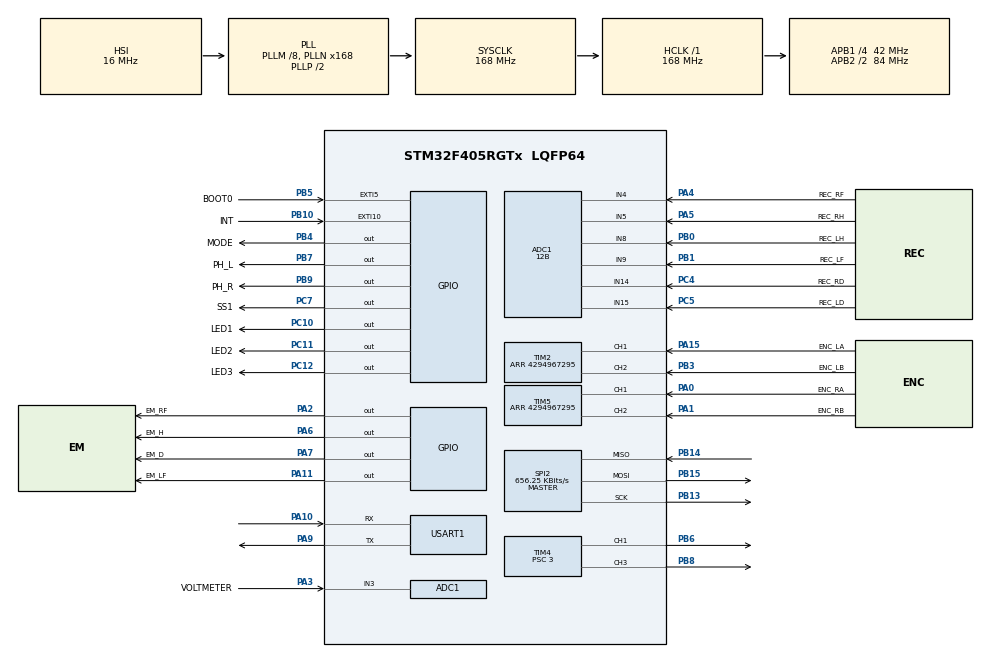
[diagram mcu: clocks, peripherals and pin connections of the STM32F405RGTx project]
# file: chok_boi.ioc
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ADC1.Channel-0\#ChannelRegularConversion=ADC_CHANNEL_3
ADC1.ClockPrescaler=ADC_CLOCK_SYNC_PCLK_DIV4
ADC1.ContinuousConvMode=DISABLE
ADC1.DMAContinuousRequests=DISABLE
ADC1.DataAlign=ADC_DATAALIGN_RIGHT
ADC1.DiscontinuousConvMode=DISABLE
ADC1.EOCSelection=ADC_EOC_SINGLE_CONV
ADC1.EnableAnalogWatchDog=false
ADC1.ExternalTrigConv=ADC_SOFTWARE_START
ADC1.ExternalTrigConvEdge=ADC_EXTERNALTRIGCONVEDGE_NONE
ADC1.InjNumberOfConversion=0
ADC1.NbrOfConversion=1
ADC1.NbrOfConversionFlag=1
ADC1.Rank-0\#ChannelRegularConversion=1
ADC1.Resolution=ADC_RESOLUTION_12B
ADC1.SamplingTime-0\#ChannelRegularConversion=ADC_SAMPLETIME_3CYCLES
ADC1.ScanConvMode=DISABLE
ADC1.master=1
Mcu.Family=STM32F4
Mcu.Name=STM32F405RGTx
Mcu.Package=LQFP64
NVIC.EXTI9_5_IRQn=true\:1\:0\:true\:false\:true\:true
NVIC.PriorityGroup=NVIC_PRIORITYGROUP_4
PA0-WKUP.GPIO_Label=ENC_RA
PA0-WKUP.Signal=S_TIM5_CH1
PA1.GPIO_Label=ENC_RB
PA1.Signal=S_TIM5_CH2
PA10.Mode=Asynchronous
PA10.Signal=USART1_RX
PA11.GPIO_Label=EM_LF
PA11.Signal=GPIO_Output
PA13.Mode=Serial_Wire
PA13.Signal=SYS_JTMS-SWDIO
PA14.Mode=Serial_Wire
PA14.Signal=SYS_JTCK-SWCLK
PA15.GPIO_Label=ENC_LA
PA15.Signal=S_TIM2_CH1_ETR
PA2.GPIO_Label=EM_RF
PA2.Signal=GPIO_Output
PA3.GPIO_Label=VOLTMETER
PA3.Signal=ADCx_IN3
PA4.GPIO_Label=REC_RF
PA4.Signal=ADCx_IN4
PA5.GPIO_Label=REC_RH
PA5.Signal=ADCx_IN5
PA6.GPIO_Label=EM_H
PA6.Signal=GPIO_Output
PA7.GPIO_Label=EM_D
PA7.Signal=GPIO_Output
PA9.Mode=Asynchronous
PA9.Signal=USART1_TX
PB0.GPIO_Label=REC_LH
PB0.Signal=ADCx_IN8
PB1.GPIO_Label=REC_LF
PB1.Signal=ADCx_IN9
PB10.GPIO_Label=INT
PB10.Signal=GPXTI10
PB13.Mode=Full_Duplex_Master
PB13.Signal=SPI2_SCK
PB14.Mode=Full_Duplex_Master
PB14.Signal=SPI2_MISO
PB15.Mode=Full_Duplex_Master
PB15.Signal=SPI2_MOSI
PB3.GPIO_Label=ENC_LB
PB3.Signal=S_TIM2_CH2
PB4.GPIO_Label=MODE
PB4.Signal=GPIO_Output
PB5.GPIO_Label=BOOT0
PB5.Signal=GPXTI5
PB6.Signal=S_TIM4_CH1
PB7.GPIO_Label=PH_L
PB7.Signal=GPIO_Output
PB8.Signal=S_TIM4_CH3
PB9.GPIO_Label=PH_R
PB9.Signal=GPIO_Output
PC10.GPIO_Label=LED1
PC10.Signal=GPIO_Output
PC11.GPIO_Label=LED2
PC11.Signal=GPIO_Output
PC12.GPIO_Label=LED3
PC12.Signal=GPIO_Output
PC4.GPIO_Label=REC_RD
PC4.Signal=ADCx_IN14
PC5.GPIO_Label=REC_LD
PC5.Signal=ADCx_IN15
PC7.GPIO_Label=SS1
PC7.PinState=GPIO_PIN_SET
PC7.Signal=GPIO_Output
ProjectManager.HeapSize=0x200
ProjectManager.StackSize=0x400
ProjectManager.TargetToolchain=Makefile
RCC.48MHZClocksFreq_Value=84000000
RCC.AHBFreq_Value=168000000
RCC.APB1CLKDivider=RCC_HCLK_DIV4
RCC.APB1Freq_Value=42000000
RCC.APB1TimFreq_Value=84000000
RCC.APB2CLKDivider=RCC_HCLK_DIV2
RCC.APB2Freq_Value=84000000
RCC.APB2TimFreq_Value=168000000
RCC.CortexFreq_Value=168000000
RCC.HCLKFreq_Value=168000000
RCC.HSE_VALUE=25000000
RCC.HSI_VALUE=16000000
RCC.LSE_VALUE=32768
RCC.PLLM=8
RCC.PLLN=168
RCC.SYSCLKFreq_VALUE=168000000
RCC.SYSCLKSource=RCC_SYSCLKSOURCE_PLLCLK
RCC.VCOOutputFreq_Value=336000000
SH.ADCx_IN14.0=ADC1_IN14,IN14
SH.ADCx_IN15.0=ADC1_IN15,IN15
SH.ADCx_IN3.0=ADC1_IN3,IN3
SH.ADCx_IN4.0=ADC1_IN4,IN4
SH.ADCx_IN5.0=ADC1_IN5,IN5
SH.ADCx_IN8.0=ADC1_IN8,IN8
SH.ADCx_IN9.0=ADC1_IN9,IN9
SH.S_TIM2_CH1_ETR.0=TIM2_CH1,Encoder_Interface
SH.S_TIM2_CH2.0=TIM2_CH2,Encoder_Interface
SH.S_TIM4_CH1.0=TIM4_CH1,PWM Generation1 CH1
SH.S_TIM4_CH3.0=TIM4_CH3,PWM Generation3 CH3
SH.S_TIM5_CH1.0=TIM5_CH1,Encoder_Interface
SH.S_TIM5_CH2.0=TIM5_CH2,Encoder_Interface
SPI2.BaudRatePrescaler=SPI_BAUDRATEPRESCALER_64
SPI2.CalculateBaudRate=656.25 KBits/s
SPI2.DataSize=SPI_DATASIZE_8BIT
SPI2.Direction=SPI_DIRECTION_2LINES
SPI2.Mode=SPI_MODE_MASTER
SPI2.VirtualType=VM_MASTER
TIM2.EncoderMode=TIM_ENCODERMODE_TI12
TIM2.IC1Polarity=TIM_ICPOLARITY_FALLING
TIM2.Period=4294967295
TIM4.Channel-PWM\ Generation1\ CH1=TIM_CHANNEL_1
TIM4.Channel-PWM\ Generation3\ CH3=TIM_CHANNEL_3
TIM4.Period=999
TIM4.Prescaler=3
TIM5.EncoderMode=TIM_ENCODERMODE_TI12
TIM5.Period=4294967295
USART1.VirtualMode=VM_ASYNC
board=chok_boi

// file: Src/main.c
/**
  ******************************************************************************
  * File Name          : main.c
  * Description        : Main program body
  ******************************************************************************
  ** This notice applies to any and all portions of this file
  * that are not between comment pairs USER CODE BEGIN and
  * USER CODE END. Other portions of this file, whether
  * inserted by the user or by software development tools
  * are owned by their respective copyright owners.
  *
  * COPYRIGHT(c) 2018 STMicroelectronics
  *
  * Redistribution and use in source and binary forms, with or without modification,
  * are permitted provided that the following conditions are met:
  *   1. Redistributions of source code must retain the above copyright notice,
  *      this list of conditions and the following disclaimer.
  *   2. Redistributions in binary form must reproduce the above copyright notice,
  *      this list of conditions and the following disclaimer in the documentation
  *      and/or other materials provided with the distribution.
  *   3. Neither the name of STMicroelectronics nor the names of its contributors
  *      may be used to endorse or promote products derived from this software
  *      without specific prior written permission.
  *
  * THIS SOFTWARE IS PROVIDED BY THE COPYRIGHT HOLDERS AND CONTRIBUTORS "AS IS"
  * AND ANY EXPRESS OR IMPLIED WARRANTIES, INCLUDING, BUT NOT LIMITED TO, THE
  * IMPLIED WARRANTIES OF MERCHANTABILITY AND FITNESS FOR A PARTICULAR PURPOSE ARE
  * DISCLAIMED. IN NO EVENT SHALL THE COPYRIGHT HOLDER OR CONTRIBUTORS BE LIABLE
  * FOR ANY DIRECT, INDIRECT, INCIDENTAL, SPECIAL, EXEMPLARY, OR CONSEQUENTIAL
  * DAMAGES (INCLUDING, BUT NOT LIMITED TO, PROCUREMENT OF SUBSTITUTE GOODS OR
  * SERVICES; LOSS OF USE, DATA, OR PROFITS; OR BUSINESS INTERRUPTION) HOWEVER
  * CAUSED AND ON ANY THEORY OF LIABILITY, WHETHER IN CONTRACT, STRICT LIABILITY,
  * OR TORT (INCLUDING NEGLIGENCE OR OTHERWISE) ARISING IN ANY WAY OUT OF THE USE
  * OF THIS SOFTWARE, EVEN IF ADVISED OF THE POSSIBILITY OF SUCH DAMAGE.
  *
  ******************************************************************************
  */
#include "main.h"
#include "stm32f4xx_hal.h"
#include "adc.h"
#include "spi.h"
#include "tim.h"
#include "usart.h"
#include "gpio.h"

/* USER CODE BEGIN Includes */
#include <limits.h>

#include "ir_sensor.h"
#include "encoder.h"
#include "controller.h"
#include "debug.h"
#include "motor.h"
/* USER CODE END Includes */

/* USER CODE BEGIN PV */
/* Private variables ---------------------------------------------------------*/

const unsigned int ENC_MODE_RELOAD = 3520UL;
const unsigned int NUM_MODES = 8UL;
const int REC_START = 3000;

enum State
{
  IDLE,
  CHOOSING,
  LOCKED,
  RUNNING
};

static volatile uint32_t g_modeNum = 0;
static volatile enum State g_state = IDLE;

/* USER CODE END PV */

void SystemClock_Config(void);

/* USER CODE BEGIN PFP */
/* Private function prototypes -----------------------------------------------*/

void HAL_SYSTICK_Callback(void);
void HAL_GPIO_EXTI_Callback(uint16_t GPIO_Pin);
static void chooseMode(void);

/* USER CODE END PFP */

/* USER CODE BEGIN 0 */

// This is the 1ms systick interrupt.
void HAL_SYSTICK_Callback(void)
{
  if (g_state == LOCKED)
  {
    readReceivers();
    if (getRecLD() > REC_START && getRecRD() > REC_START)
    {
      g_state = IDLE;
    }
  }
  else if (g_state == RUNNING)
  {
    switch (g_modeNum)
    {
      case 4:
        speedProfile();
        updateSpeedData();
        break;
      case 5:
        break;
      case 6:
        break;
      case 7:
        break;
    }
  }
}

// This function gets called when the BOOT0 button is pressed
// or when the INT signal from the gyro is received.
void HAL_GPIO_EXTI_Callback(uint16_t GPIO_Pin)
{
  switch (GPIO_Pin)
  {
    case BOOT0_Pin:
      switch (g_state)
      {
        case CHOOSING:
          g_state = LOCKED;
          break;
        case LOCKED:
          g_state = CHOOSING;
          break;
        case RUNNING:
        case IDLE:
          break;
      }
      break;
    /* case INT_Pin: */
    /*   break; */
  }
}

// Rotate the left wheel to select among the 8 modes. The LEDs will light
// up to correspond to the mode number. An unlit LED represents a binary 0
// while a lit LED represents a binary 1. The value is read left to right.
static void chooseMode(void)
{
  g_modeNum = getLeftEnc() / (ENC_MODE_RELOAD / NUM_MODES);
  if (g_modeNum & 1) set(LED3); else reset(LED3);
  if (g_modeNum & 2) set(LED2); else reset(LED2);
  if (g_modeNum & 4) set(LED1); else reset(LED1);
}

/* USER CODE END 0 */

int main(void)
{

  /* MCU Configuration----------------------------------------------------------*/

  /* Reset of all peripherals, Initializes the Flash interface and the Systick. */
  HAL_Init();

  /* Configure the system clock */
  SystemClock_Config();

  /* Initialize all configured peripherals */
  MX_GPIO_Init();
  MX_ADC1_Init();
  MX_SPI2_Init();
  MX_TIM2_Init();
  MX_TIM4_Init();
  MX_TIM5_Init();
  MX_USART1_UART_Init();

  /* USER CODE BEGIN 2 */

  // Test LED blink after power system and MCU have been soldered.
  // Comment out or remove after verification.
  set(MODE);
  HAL_TIM_PWM_Start(&htim4, TIM_CHANNEL_1);
  HAL_TIM_PWM_Start(&htim4, TIM_CHANNEL_3);
  setLeftMotor(250);
  setRightMotor(250);
  while (1)
  {
      unsigned char aTxBuffer = 0x80 | 0x3B;
      /* uint8_t aRxBuffer = 0; */
      uint16_t bit_data;
      float data;
      uint8_t responseH, responseL;

      reset(SS1);
      HAL_Delay(1);
      HAL_SPI_Transmit(&hspi2, (uint8_t*)&aTxBuffer, sizeof(unsigned char), 1000);
      HAL_SPI_Receive(&hspi2, (uint8_t*)&responseH, sizeof(uint8_t), 1000);
      HAL_SPI_Receive(&hspi2, (uint8_t*)&responseL, sizeof(uint8_t), 1000);
      bit_data = ((int16_t)responseH<<8) | responseL;
      data=(float)bit_data;
      print("%hu\r\n", bit_data);
      set(SS1);
      HAL_Delay(1);
      /* toggle(LED2); */
      /* HAL_Delay(1000); */
  }

  HAL_TIM_Encoder_Start(&htim2, TIM_CHANNEL_ALL);
  HAL_TIM_Encoder_Start(&htim5, TIM_CHANNEL_ALL);

  // This loop is for the initial test to make sure all the sensors have
  // proper readings. Comment out or remove after verification.
  while (1)
  {
    printSensorValues();
  }

  // Change the encoder autoreload value to wrap back to 0 when it reaches
  // 3520. This is done for mode selection.
  __HAL_TIM_SET_AUTORELOAD(&htim2, ENC_MODE_RELOAD - 1UL);

  // Use the left wheel to select a mode.
  g_state = CHOOSING;
  while (g_state == CHOOSING)
  {
    resetLeftEnc();
    resetRightEnc();
    // Turn left wheel to choose the mode. Press BOOT0 button to lock in choice.
    do
    {
      chooseMode();
    } while (g_state == CHOOSING);

    // Can either press BOOT0 button again to choose another mode, or block the
    // left and right forward IR sensors to start running in desired mode.
    while (g_state == LOCKED);  // Better alternative to polling?

    // If g_state == IDLE then that means we blocked the IR sensors instead
    // of pressing BOOT0 again. Prepare for running or debugging by
    // setting up the motor driver and encoder.
    if (g_state == IDLE)
    {
      HAL_Delay(2000);    // Wait for 2 seconds
      __HAL_TIM_SET_AUTORELOAD(&htim2, ULONG_MAX);
      set(MODE);  // This MODE is the motor driver input
      HAL_TIM_PWM_Start(&htim4, TIM_CHANNEL_1);
      HAL_TIM_PWM_Start(&htim4, TIM_CHANNEL_3);
      resetLeftEnc();
      resetRightEnc();
      g_state = RUNNING;
    }
  }

  /* USER CODE END 2 */

  /* Infinite loop */
  /* USER CODE BEGIN WHILE */
  while (g_state == RUNNING)
  {
  /* USER CODE END WHILE */

  /* USER CODE BEGIN 3 */

    switch (g_modeNum)
    {
      case 0:
        // Search mode
        break;
      case 1:
        //  Speed mode 1
        break;
      case 2:
        // Speed mode 2
        break;
      case 3:
        printSensorValues();
        break;
      case 4:
        debugSpeedProfile();
        g_state = IDLE;
        break;
    }
  }

  // Reaching this point means we are done with the main routine. Proceed to
  // enter a low power state.
  while (1)
  {
    resetSpeedProfile();
    HAL_PWR_EnterSTANDBYMode();
  }
  /* USER CODE END 3 */

}

/** System Clock Configuration
*/
void SystemClock_Config(void)
{

  RCC_OscInitTypeDef RCC_OscInitStruct;
  RCC_ClkInitTypeDef RCC_ClkInitStruct;

    /**Configure the main internal regulator output voltage
    */
  __HAL_RCC_PWR_CLK_ENABLE();

  __HAL_PWR_VOLTAGESCALING_CONFIG(PWR_REGULATOR_VOLTAGE_SCALE1);

    /**Initializes the CPU, AHB and APB busses clocks
    */
  RCC_OscInitStruct.OscillatorType = RCC_OSCILLATORTYPE_HSI;
  RCC_OscInitStruct.HSIState = RCC_HSI_ON;
  RCC_OscInitStruct.HSICalibrationValue = 16;
  RCC_OscInitStruct.PLL.PLLState = RCC_PLL_ON;
  RCC_OscInitStruct.PLL.PLLSource = RCC_PLLSOURCE_HSI;
  RCC_OscInitStruct.PLL.PLLM = 8;
  RCC_OscInitStruct.PLL.PLLN = 168;
  RCC_OscInitStruct.PLL.PLLP = RCC_PLLP_DIV2;
  RCC_OscInitStruct.PLL.PLLQ = 4;
  if (HAL_RCC_OscConfig(&RCC_OscInitStruct) != HAL_OK)
  {
    _Error_Handler(__FILE__, __LINE__);
  }

    /**Initializes the CPU, AHB and APB busses clocks
    */
  RCC_ClkInitStruct.ClockType = RCC_CLOCKTYPE_HCLK|RCC_CLOCKTYPE_SYSCLK
                              |RCC_CLOCKTYPE_PCLK1|RCC_CLOCKTYPE_PCLK2;
  RCC_ClkInitStruct.SYSCLKSource = RCC_SYSCLKSOURCE_PLLCLK;
  RCC_ClkInitStruct.AHBCLKDivider = RCC_SYSCLK_DIV1;
  RCC_ClkInitStruct.APB1CLKDivider = RCC_HCLK_DIV4;
  RCC_ClkInitStruct.APB2CLKDivider = RCC_HCLK_DIV2;

  if (HAL_RCC_ClockConfig(&RCC_ClkInitStruct, FLASH_LATENCY_5) != HAL_OK)
  {
    _Error_Handler(__FILE__, __LINE__);
  }

    /**Configure the Systick interrupt time
    */
  HAL_SYSTICK_Config(HAL_RCC_GetHCLKFreq()/1000);

    /**Configure the Systick
    */
  HAL_SYSTICK_CLKSourceConfig(SYSTICK_CLKSOURCE_HCLK);

  /* SysTick_IRQn interrupt configuration */
  HAL_NVIC_SetPriority(SysTick_IRQn, 0, 0);
}

void _Error_Handler(char * file, int line)
{
  /* USER CODE BEGIN Error_Handler_Debug */
  /* User can add his own implementation to report the HAL error return state */
  g_state = IDLE;
  resetSpeedProfile();
  while(1)
  {
  }
  /* USER CODE END Error_Handler_Debug */
}

/************************ (C) COPYRIGHT STMicroelectronics *****END OF FILE****/
